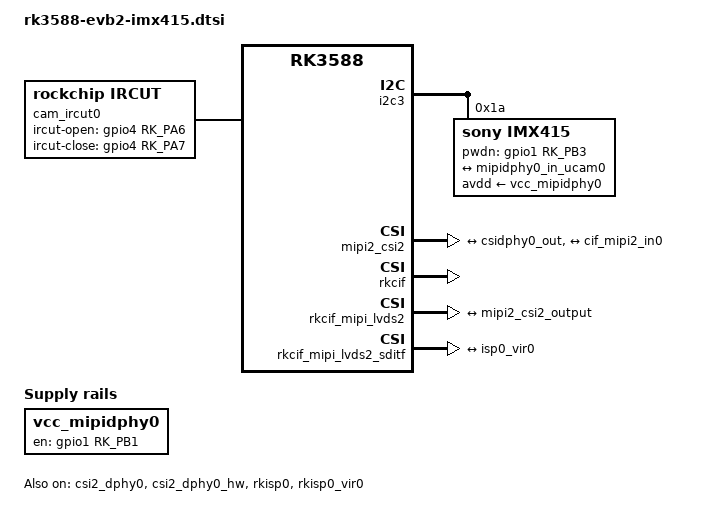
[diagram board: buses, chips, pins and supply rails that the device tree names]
// SPDX-License-Identifier: (GPL-2.0+ OR MIT)
/*
 * Copyright (c) 2021 Rockchip Electronics Co., Ltd.
 *
 */

/ {
	cam_ircut0: cam_ircut {
		status = "okay";
		compatible = "rockchip,ircut";
		ircut-open-gpios = <&gpio4 RK_PA6 GPIO_ACTIVE_HIGH>;
		ircut-close-gpios  = <&gpio4 RK_PA7 GPIO_ACTIVE_HIGH>;
		rockchip,camera-module-index = <0>;
		rockchip,camera-module-facing = "back";
	};
	vcc_mipidphy0: vcc-mipidcphy0-regulator {
		compatible = "regulator-fixed";
		gpio = <&gpio1 RK_PB1 GPIO_ACTIVE_HIGH>;
		pinctrl-names = "default";
		pinctrl-0 = <&mipidphy0_pwr>;
		regulator-name = "vcc_mipidphy0";
		enable-active-high;
	};
};

&csi2_dphy0 {
	status = "okay";

	ports {
		#address-cells = <1>;
		#size-cells = <0>;
		port@0 {
			reg = <0>;
			#address-cells = <1>;
			#size-cells = <0>;

			mipidphy0_in_ucam0: endpoint@1 {
				reg = <1>;
				remote-endpoint = <&imx415_out0>;
				data-lanes = <1 2 3 4>;
			};
		};
		port@1 {
			reg = <1>;
			#address-cells = <1>;
			#size-cells = <0>;

			csidphy0_out: endpoint@0 {
				reg = <0>;
				remote-endpoint = <&mipi2_csi2_input>;
			};
		};
	};
};

&csi2_dphy0_hw {
	status = "okay";
};

&i2c3 {
	status = "okay";

	imx415: imx415@1a {
		compatible = "sony,imx415";
		reg = <0x1a>;
		clocks = <&cru CLK_MIPI_CAMARAOUT_M3>;
		clock-names = "xvclk";
		pinctrl-names = "default";
		pinctrl-0 = <&mipim0_camera3_clk>;
		power-domains = <&power RK3588_PD_VI>;
		pwdn-gpios = <&gpio1 RK_PB3 GPIO_ACTIVE_HIGH>;
		avdd-supply = <&vcc_mipidphy0>;
		rockchip,camera-module-index = <0>;
		rockchip,camera-module-facing = "back";
		rockchip,camera-module-name = "CMK-OT2022-PX1";
		rockchip,camera-module-lens-name = "IR0147-50IRC-8M-F20";
		lens-focus = <&cam_ircut0>;
		port {
			imx415_out0: endpoint {
				remote-endpoint = <&mipidphy0_in_ucam0>;
				data-lanes = <1 2 3 4>;
			};
		};
	};
};

&mipi2_csi2 {
	status = "okay";

	ports {
		#address-cells = <1>;
		#size-cells = <0>;

		port@0 {
			reg = <0>;
			#address-cells = <1>;
			#size-cells = <0>;

			mipi2_csi2_input: endpoint@1 {
				reg = <1>;
				remote-endpoint = <&csidphy0_out>;
			};
		};

		port@1 {
			reg = <1>;
			#address-cells = <1>;
			#size-cells = <0>;

			mipi2_csi2_output: endpoint@0 {
				reg = <0>;
				remote-endpoint = <&cif_mipi2_in0>;
			};
		};
	};
};

&pinctrl {
	cam {
		mipidphy0_pwr: mipidphy0-pwr {
			rockchip,pins =
				/* camera power en */
				<1 RK_PB1 RK_FUNC_GPIO &pcfg_pull_none>;
		};
	};
};

&rkcif {
	status = "okay";
};

&rkcif_mipi_lvds2 {
	status = "okay";

	port {
		cif_mipi2_in0: endpoint {
			remote-endpoint = <&mipi2_csi2_output>;
		};
	};
};

&rkcif_mipi_lvds2_sditf {
	status = "okay";

	port {
		mipi_lvds2_sditf: endpoint {
			remote-endpoint = <&isp0_vir0>;
		};
	};
};

&rkcif_mmu {
	status = "okay";
};

&rkisp0 {
	status = "okay";
};

&isp0_mmu {
	status = "okay";
};

&rkisp0_vir0 {
	status = "okay";

	port {
		#address-cells = <1>;
		#size-cells = <0>;

		isp0_vir0: endpoint@0 {
			reg = <0>;
			remote-endpoint = <&mipi_lvds2_sditf>;
		};
	};
};
